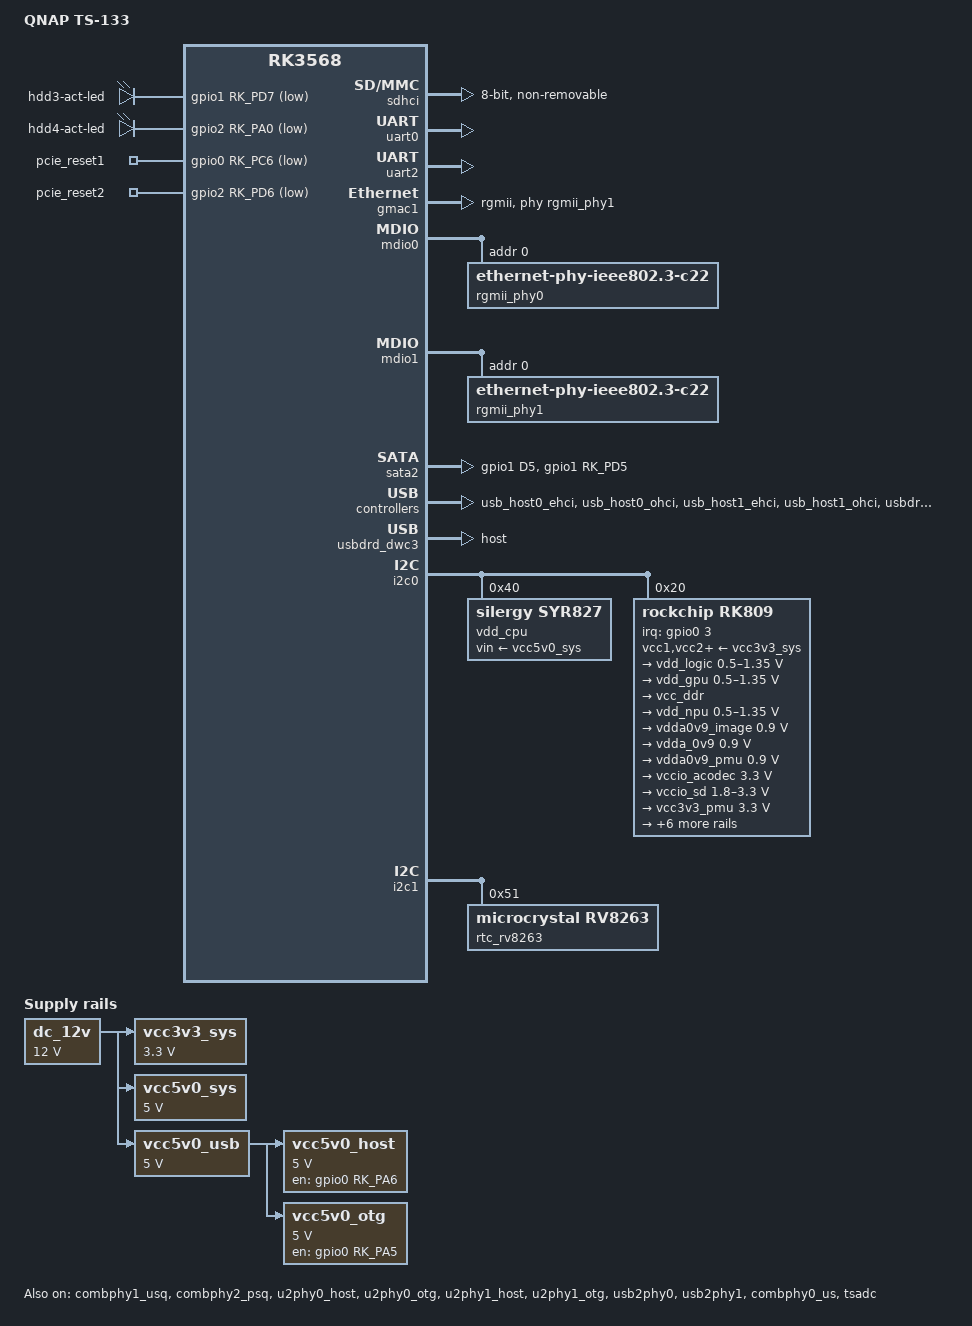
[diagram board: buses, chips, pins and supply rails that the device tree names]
// SPDX-License-Identifier: (GPL-2.0+ OR MIT)
/*
 * Copyright (c) 2021 Rockchip Electronics Co., Ltd.
 *
 */

/dts-v1/;
#include <dt-bindings/gpio/gpio.h>
#include <dt-bindings/pinctrl/rockchip.h>
#include "rk3568.dtsi"

/ {
	model = "QNAP TS-133";
	compatible = "rockchip,rk3568-evb1-v10", "rockchip,rk3568";

	chosen: chosen {
		stdout-path = "serial2:115200n8";
	};

	leds {
		compatible = "gpio-leds";
		poll-interval = <100>;
		pinctrl-names = "default";
		pinctrl-0 = <&hdd3_led_gpio>, <&hdd4_led_gpio>,
			    <&pcie_reset1_gpio>, <&pcie_reset2_gpio>;

		hdd3-led {
			label = "hdd3-act-led";
			default-state = "off";
			gpios = <&gpio1 RK_PD7 GPIO_ACTIVE_LOW>;
		};

		hdd4-led {
			label = "hdd4-act-led";
			default-state = "off";
			gpios = <&gpio2 RK_PA0 GPIO_ACTIVE_LOW>;
		};

		pcie_reset1-led {
			label = "pcie_reset1";
			default-state = "on";
			gpios = <&gpio0 RK_PC6 GPIO_ACTIVE_LOW>;
		};

		pcie_reset2-led {
			label = "pcie_reset2";
			default-state = "on";
			gpios = <&gpio2 RK_PD6 GPIO_ACTIVE_LOW>;
		};
	};

	dc_12v: dc-12v {
		compatible = "regulator-fixed";
		regulator-name = "dc_12v";
		regulator-always-on;
		regulator-boot-on;
		regulator-min-microvolt = <12000000>;
		regulator-max-microvolt = <12000000>;
	};

	vcc3v3_sys: vcc3v3-sys {
		compatible = "regulator-fixed";
		regulator-name = "vcc3v3_sys";
		regulator-always-on;
		regulator-boot-on;
		regulator-min-microvolt = <3300000>;
		regulator-max-microvolt = <3300000>;
		vin-supply = <&dc_12v>;
	};

	vcc5v0_sys: vcc5v0-sys {
		compatible = "regulator-fixed";
		regulator-name = "vcc5v0_sys";
		regulator-always-on;
		regulator-boot-on;
		regulator-min-microvolt = <5000000>;
		regulator-max-microvolt = <5000000>;
		vin-supply = <&dc_12v>;
	};

        vcc5v0_usb: vcc5v0-usb {
                compatible = "regulator-fixed";
                regulator-name = "vcc5v0_usb";
                regulator-always-on;
                regulator-boot-on;
                regulator-min-microvolt = <5000000>;
                regulator-max-microvolt = <5000000>;
                vin-supply = <&dc_12v>;
        };

        vcc5v0_host: vcc5v0-host-regulator {
                compatible = "regulator-fixed";
                regulator-name = "vcc5v0_host";
                regulator-boot-on;
                regulator-always-on;
                regulator-min-microvolt = <5000000>;
                regulator-max-microvolt = <5000000>;
                enable-active-high;
                gpio = <&gpio0 RK_PA6 GPIO_ACTIVE_HIGH>;
                vin-supply = <&vcc5v0_usb>;
                pinctrl-names = "default";
                pinctrl-0 = <&vcc5v0_host_en>;
        };

        vcc5v0_otg: vcc5v0-otg-regulator {
                compatible = "regulator-fixed";
                regulator-name = "vcc5v0_otg";
                regulator-min-microvolt = <5000000>;
                regulator-max-microvolt = <5000000>;
                enable-active-high;
                gpio = <&gpio0 RK_PA5 GPIO_ACTIVE_HIGH>;
                vin-supply = <&vcc5v0_usb>;
                pinctrl-names = "default";
                pinctrl-0 = <&vcc5v0_otg_en>;
        };

	vcc3v3_lcd0_n: vcc3v3-lcd0-n {
		compatible = "regulator-fixed";
		regulator-name = "vcc3v3_lcd0_n";
		regulator-boot-on;

		regulator-state-mem {
			regulator-off-in-suspend;
		};
	};

	vcc3v3_lcd1_n: vcc3v3-lcd1-n {
		compatible = "regulator-fixed";
		regulator-name = "vcc3v3_lcd1_n";
		regulator-boot-on;

		regulator-state-mem {
			regulator-off-in-suspend;
		};
	};
};

&pinctrl {
        pmic {
                pmic_int: pmic_int {
                        rockchip,pins =
                                <0 RK_PA3 RK_FUNC_GPIO &pcfg_pull_up>;
                };
        };

        usb {
                vcc5v0_host_en: vcc5v0-host-en {
                        rockchip,pins = <0 RK_PA6 RK_FUNC_GPIO &pcfg_pull_none>;
                };

                vcc5v0_otg_en: vcc5v0-otg-en {
                        rockchip,pins = <0 RK_PA5 RK_FUNC_GPIO &pcfg_pull_none>;
                };
        };

	leds {
		hdd1_led_gpio: hdd1_led-gpio {
			rockchip,pins = <1 RK_PD6 RK_FUNC_GPIO &pcfg_pull_up>;
		};

		hdd2_led_gpio: hdd2_led-gpio {
			rockchip,pins = <1 RK_PD5 RK_FUNC_GPIO &pcfg_pull_up>;
		};

		hdd3_led_gpio: hdd3_led-gpio {
			rockchip,pins = <1 RK_PD7 RK_FUNC_GPIO &pcfg_pull_up>;
		};

		hdd4_led_gpio: hdd4_led-gpio {
			rockchip,pins = <2 RK_PA0 RK_FUNC_GPIO &pcfg_pull_up>;
		};

		pcie_reset1_gpio: pcie_reset1-gpio {
			rockchip,pins = <0 RK_PC6 RK_FUNC_GPIO &pcfg_pull_down>;
		};
		pcie_reset2_gpio: pcie_reset2-gpio {
			rockchip,pins = <2 RK_PD6 RK_FUNC_GPIO &pcfg_pull_down>;
		};


		hdd1_presnt_gpio: hdd1_presnt-gpio {
			rockchip,pins = <2 RK_PA1 RK_FUNC_GPIO &pcfg_pull_up_smt>;
		};
		hdd2_presnt_gpio: hdd2_presnt-gpio {
			rockchip,pins = <2 RK_PA2 RK_FUNC_GPIO &pcfg_pull_up_smt>;
		};
		hdd3_presnt_gpio: hdd3_presnt-gpio {
			rockchip,pins = <2 RK_PD0 RK_FUNC_GPIO &pcfg_pull_up_smt>;
		};
		hdd4_presnt_gpio: hdd4_presnt-gpio {
			rockchip,pins = <2 RK_PD1 RK_FUNC_GPIO &pcfg_pull_up_smt>;
		};
	};
};

&sdhci {
	bus-width = <8>;
	max-frequency = <200000000>;
	non-removable;
	status = "okay";
};

&uart0 {
	status = "okay";
};

&uart2 {
	status = "okay";
};

&gmac0 {
        phy-mode = "rgmii";
        clock_in_out = "output";

        assigned-clocks = <&cru SCLK_GMAC0_RX_TX>, <&cru SCLK_GMAC0>;
        assigned-clock-parents = <&cru SCLK_GMAC0_RGMII_SPEED>, <&cru CLK_MAC0_2TOP>;
        assigned-clock-rates = <0>, <125000000>;

        pinctrl-names = "default";
        pinctrl-0 = <&gmac0_miim
                     &gmac0_tx_bus2
                     &gmac0_rx_bus2
                     &gmac0_rgmii_clk
                     &gmac0_rgmii_bus>;

        tx_delay = <0x3c>;
        rx_delay = <0x2f>;

        phy-handle = <&rgmii_phy0>;
        status = "disabled";
};

&gmac1 {
        phy-mode = "rgmii";
        clock_in_out = "output";

        assigned-clocks = <&cru SCLK_GMAC1_RX_TX>, <&cru SCLK_GMAC1>;
        assigned-clock-parents = <&cru SCLK_GMAC1_RGMII_SPEED>, <&cru CLK_MAC1_2TOP>;
        assigned-clock-rates = <0>, <125000000>;

        pinctrl-names = "default";
        pinctrl-0 = <&gmac1m1_miim
                     &gmac1m1_tx_bus2
                     &gmac1m1_rx_bus2
                     &gmac1m1_rgmii_clk
                     &gmac1m1_rgmii_bus>;

        tx_delay = <0x4f>;
        rx_delay = <0x26>;

        phy-handle = <&rgmii_phy1>;
        status = "okay";
};

&mdio0 {
        rgmii_phy0: phy@0 {
                compatible = "ethernet-phy-ieee802.3-c22";
                reg = <0x0>;
        };
};

&mdio1 {
        rgmii_phy1: phy@0 {
                compatible = "ethernet-phy-ieee802.3-c22";
                reg = <0x0>;
        };
};

&combphy1_usq {
        status = "okay";
};

&combphy2_psq {
        status = "okay";
};

&sata2 {
        status = "okay";
        pinctrl-names = "default";
        pinctrl-0 = <&hdd2_led_gpio>;
        gpios = <&gpio1 RK_PD5 GPIO_ACTIVE_LOW>;
};

&u2phy0_host {
        phy-supply = <&vcc5v0_host>;
        status = "okay";
};

&u2phy0_otg {
        vbus-supply = <&vcc5v0_otg>;
        status = "okay";
};

&u2phy1_host {
        phy-supply = <&vcc5v0_host>;
        status = "okay";
};

&u2phy1_otg {
        phy-supply = <&vcc5v0_host>;
        status = "okay";
};

&usb2phy0 {
        status = "okay";
};

&usb2phy1 {
        status = "okay";
};

&usb_host0_ehci {
        status = "okay";
};

&usb_host0_ohci {
        status = "okay";
};

&usb_host1_ehci {
        status = "okay";
};

&usb_host1_ohci {
        status = "okay";
};

/* front usb port */
&combphy0_us {
	status = "okay";
};

&vcc5v0_otg {
        regulator-boot-on;
        regulator-always-on;
};

&usbdrd_dwc3 {
        dr_mode = "host";
        extcon = <&usb2phy0>;
        status = "okay";
};

&usbdrd30 {
        status = "okay";
};

&usbhost_dwc3 {
        status = "okay";
};

&usbhost30 {
        status = "okay";
};

&cpu0_opp_table {
    /delete-node/ opp-408000000;
    /delete-node/ opp-600000000;
    /delete-node/ opp-816000000;
    /delete-node/ opp-1104000000;
    /delete-node/ opp-1416000000;
    /delete-node/ opp-1608000000;
//    /delete-node/ opp-1800000000;
    /delete-node/ opp-1992000000;
};

/* thermal */
&tsadc {
	status = "okay";
};

/* i2c bus */
&i2c0 {
	status = "okay";

	vdd_cpu: syr827@40 {
		compatible = "silergy,syr827";
		reg = <0x40>;
		vin-supply = <&vcc5v0_sys>;
		regulator-compatible = "fan53555-reg";
		regulator-name = "vdd_cpu";
		regulator-min-microvolt = <712500>;
		regulator-max-microvolt = <1390000>;
		regulator-init-microvolt = <900000>;
		regulator-ramp-delay = <2300>;
		regulator-boot-on;
		regulator-always-on;
	};

	rk809: pmic@20 {
		compatible = "rockchip,rk809";
		reg = <0x20>;
		interrupt-parent = <&gpio0>;
		interrupts = <3 IRQ_TYPE_LEVEL_LOW>;

		pinctrl-names = "default", "pmic-sleep",
			"pmic-power-off", "pmic-reset";
		pinctrl-0 = <&pmic_int>;
		rockchip,system-power-controller;
		wakeup-source;
		#clock-cells = <1>;
		clock-output-names = "rk808-clkout1", "rk808-clkout2";
		//fb-inner-reg-idxs = <2>;
		/* 1: rst regs (default in codes), 0: rst the pmic */
		pmic-reset-func = <0>;
		/* not save the PMIC_POWER_EN register in uboot */
		not-save-power-en = <1>;

		vcc1-supply = <&vcc3v3_sys>;
		vcc2-supply = <&vcc3v3_sys>;
		vcc3-supply = <&vcc3v3_sys>;
		vcc4-supply = <&vcc3v3_sys>;
		vcc5-supply = <&vcc3v3_sys>;
		vcc6-supply = <&vcc3v3_sys>;
		vcc7-supply = <&vcc3v3_sys>;
		vcc8-supply = <&vcc3v3_sys>;
		vcc9-supply = <&vcc3v3_sys>;

		regulators {
			vdd_logic: DCDC_REG1 {
				regulator-always-on;
				regulator-boot-on;
				regulator-min-microvolt = <500000>;
				regulator-max-microvolt = <1350000>;
				regulator-init-microvolt = <900000>;
				regulator-ramp-delay = <6001>;
				regulator-initial-mode = <0x2>;
				regulator-name = "vdd_logic";
				regulator-state-mem {
					regulator-off-in-suspend;
				};
			};

			vdd_gpu: DCDC_REG2 {
				regulator-always-on;
				regulator-boot-on;
				regulator-min-microvolt = <500000>;
				regulator-max-microvolt = <1350000>;
				regulator-init-microvolt = <900000>;
				regulator-ramp-delay = <6001>;
				regulator-initial-mode = <0x2>;
				regulator-name = "vdd_gpu";
				regulator-state-mem {
					regulator-off-in-suspend;
				};
			};

			vcc_ddr: DCDC_REG3 {
				regulator-always-on;
				regulator-boot-on;
				regulator-initial-mode = <0x2>;
				regulator-name = "vcc_ddr";
				regulator-state-mem {
					regulator-on-in-suspend;
				};
			};

			vdd_npu: DCDC_REG4 {
				regulator-always-on;
				regulator-boot-on;
				regulator-min-microvolt = <500000>;
				regulator-max-microvolt = <1350000>;
				regulator-init-microvolt = <900000>;
				regulator-ramp-delay = <6001>;
				regulator-initial-mode = <0x2>;
				regulator-name = "vdd_npu";
				regulator-state-mem {
					regulator-off-in-suspend;
				};
			};

			vdda0v9_image: LDO_REG1 {
				regulator-boot-on;
				regulator-always-on;
				regulator-min-microvolt = <900000>;
				regulator-max-microvolt = <900000>;
				regulator-name = "vdda0v9_image";
				regulator-state-mem {
					regulator-off-in-suspend;
				};
			};

			vdda_0v9: LDO_REG2 {
				regulator-always-on;
				regulator-boot-on;
				regulator-min-microvolt = <900000>;
				regulator-max-microvolt = <900000>;
				regulator-name = "vdda_0v9";
				regulator-state-mem {
					regulator-off-in-suspend;
				};
			};

			vdda0v9_pmu: LDO_REG3 {
				regulator-always-on;
				regulator-boot-on;
				regulator-min-microvolt = <900000>;
				regulator-max-microvolt = <900000>;
				regulator-name = "vdda0v9_pmu";
				regulator-state-mem {
				regulator-on-in-suspend;
					regulator-suspend-microvolt = <900000>;
				};
			};

			vccio_acodec: LDO_REG4 {
				regulator-always-on;
				regulator-boot-on;
				regulator-min-microvolt = <3300000>;
				regulator-max-microvolt = <3300000>;
				regulator-name = "vccio_acodec";
				regulator-state-mem {
					regulator-off-in-suspend;
				};
			};

			vccio_sd: LDO_REG5 {
				regulator-always-on;
				regulator-boot-on;
				regulator-min-microvolt = <1800000>;
				regulator-max-microvolt = <3300000>;
				regulator-name = "vccio_sd";
				regulator-state-mem {
					regulator-off-in-suspend;
				};
			};

			vcc3v3_pmu: LDO_REG6 {
				regulator-always-on;
				regulator-boot-on;
				regulator-min-microvolt = <3300000>;
				regulator-max-microvolt = <3300000>;
				regulator-name = "vcc3v3_pmu";
				regulator-state-mem {
				regulator-on-in-suspend;
					regulator-suspend-microvolt = <3300000>;
				};
			};

			vcca_1v8: LDO_REG7 {
				regulator-always-on;
				regulator-boot-on;
				regulator-min-microvolt = <1800000>;
				regulator-max-microvolt = <1800000>;
				regulator-name = "vcca_1v8";
				regulator-state-mem {
					regulator-off-in-suspend;
				};
			};

			vcca1v8_pmu: LDO_REG8 {
				regulator-always-on;
				regulator-boot-on;
				regulator-min-microvolt = <1800000>;
				regulator-max-microvolt = <1800000>;
				regulator-name = "vcca1v8_pmu";
				regulator-state-mem {
					regulator-on-in-suspend;
					regulator-suspend-microvolt = <1800000>;
				};
			};

			vcca1v8_image: LDO_REG9 {
				regulator-always-on;
				regulator-boot-on;
				regulator-min-microvolt = <1800000>;
				regulator-max-microvolt = <1800000>;
				regulator-name = "vcca1v8_image";
				regulator-state-mem {
					regulator-off-in-suspend;
				};
			};

			vcc_1v8: DCDC_REG5 {
				regulator-always-on;
				regulator-boot-on;
				regulator-min-microvolt = <1800000>;
				regulator-max-microvolt = <1800000>;
				regulator-name = "vcc_1v8";
				regulator-state-mem {
					regulator-off-in-suspend;
				};
			};

			vcc_3v3: SWITCH_REG1 {
				regulator-always-on;
				regulator-boot-on;
				regulator-name = "vcc_3v3";
				regulator-state-mem {
					regulator-off-in-suspend;
				};
			};

			vcc3v3_sd: SWITCH_REG2 {
				regulator-always-on;
				regulator-boot-on;
				regulator-name = "vcc3v3_sd";
				regulator-state-mem {
					regulator-off-in-suspend;
				};
			};
		};
	};
};

/* cpu freq */
&cpu0 {
	cpu-supply = <&vdd_cpu>;
};

&i2c1 {
        status = "okay";

        rtc_rv8263: rtc@51 {
                compatible = "microcrystal,rv8263";
                reg = <0x51>;
                wakeup-source;
        };
};

&pmu_io_domains {
	vccio4-supply = <&vcc_1v8>;
	vccio6-supply = <&vcc_1v8>;
};

&vcc3v3_lcd0_n {
	status = "disabled";
};

&vcc3v3_lcd1_n {
	status = "disabled";
};
